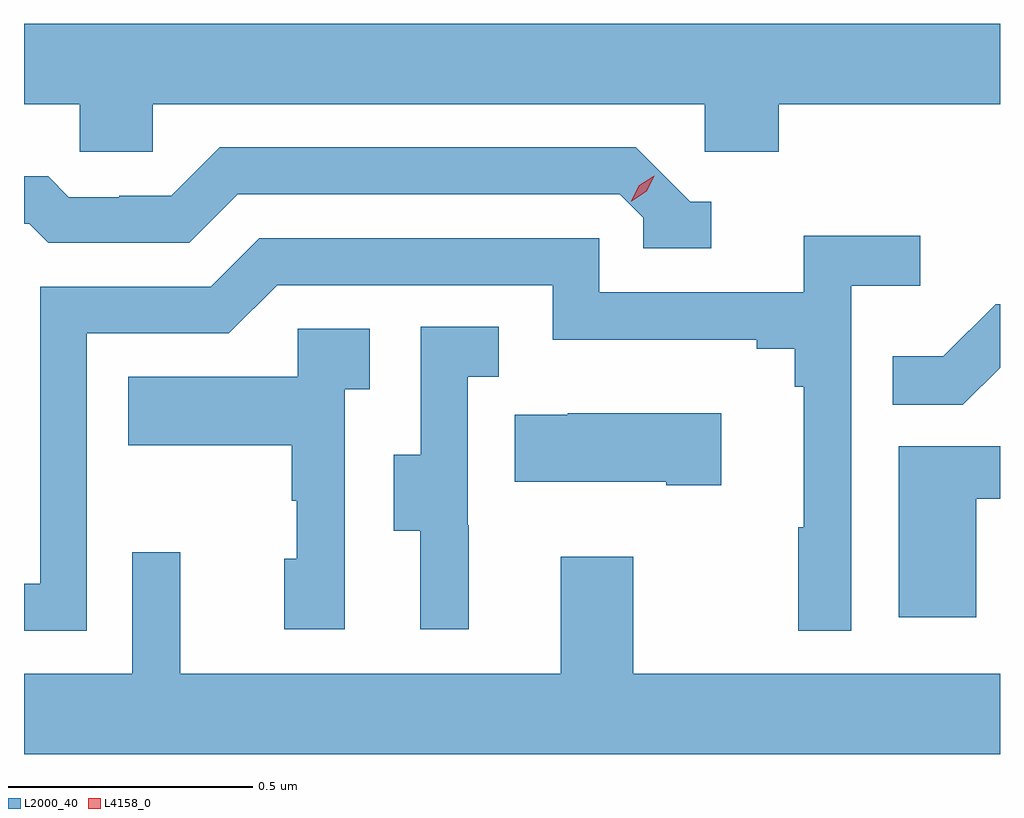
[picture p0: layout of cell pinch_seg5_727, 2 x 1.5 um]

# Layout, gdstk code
import gdstk
lib = gdstk.Library(unit=1e-6, precision=1e-09)
def P(c, l, *ps):  # polygons
    for p in ps: c.add(gdstk.Polygon(p, *l))
L2000_40 = (2000, 40)
L4158_0 = (4158, 0)

pinch_seg5_727 = lib.new_cell('pinch_seg5_727')
P(pinch_seg5_727, L2000_40, [(1080.675,850.1),(1081.806,850.1),(1081.806,850.002),(1081.958,850.002),(1081.958,850.1),(1082.411,850.1),(1082.411,850.264),(1080.411,850.264),(1080.411,850.1),(1080.525,850.1),(1080.525,850.002),(1080.675,850.002)],
  [(1081.819,849.9),(1081.776,849.9),(1081.665,850.011),(1080.812,850.011),(1080.713,849.912),(1080.606,849.912),(1080.606,849.909),(1080.503,849.909),(1080.461,849.952),(1080.411,849.952),(1080.411,849.855),(1080.422,849.855),(1080.461,849.816),(1080.75,849.816),(1080.849,849.915),(1081.632,849.915),(1081.68,849.867),(1081.68,849.804),(1081.819,849.804)],
  [(1080.54,849.63),(1080.831,849.63),(1080.93,849.729),(1081.494,849.729),(1081.494,849.617),(1081.913,849.617),(1081.913,849.598),(1081.99,849.598),(1081.99,849.521),(1082.009,849.521),(1082.009,849.233),(1081.998,849.233),(1081.998,849.021),(1082.106,849.021),(1082.106,849.728),(1082.248,849.728),(1082.248,849.83),(1082.009,849.83),(1082.009,849.714),(1081.59,849.714),(1081.59,849.825),(1080.893,849.825),(1080.794,849.726),(1080.444,849.726),(1080.444,849.117),(1080.411,849.117),(1080.411,849.021),(1080.54,849.021)],
  [(1082.411,849.56),(1082.411,849.69),(1082.402,849.69),(1082.295,849.583),(1082.191,849.583),(1082.191,849.484),(1082.335,849.484)],
  [(1081.322,849.237),(1081.32,849.237),(1081.32,849.541),(1081.384,849.541),(1081.384,849.644),(1081.224,849.644),(1081.224,849.381),(1081.169,849.381),(1081.169,849.226),(1081.223,849.226),(1081.223,849.024),(1081.322,849.024)],
  [(1081.068,849.515),(1081.12,849.515),(1081.12,849.639),(1080.972,849.639),(1080.972,849.541),(1080.625,849.541),(1080.625,849.401),(1080.96,849.401),(1080.96,849.287),(1080.97,849.287),(1080.97,849.168),(1080.944,849.168),(1080.944,849.024),(1081.068,849.024)],
  [(1081.84,849.466),(1081.525,849.466),(1081.525,849.463),(1081.417,849.463),(1081.417,849.326),(1081.727,849.326),(1081.727,849.319),(1081.84,849.319)],
  [(1082.362,849.291),(1082.411,849.291),(1082.411,849.399),(1082.204,849.399),(1082.204,849.048),(1082.362,849.048)],
  [(1082.411,848.932),(1081.659,848.932),(1081.659,849.172),(1081.511,849.172),(1081.511,848.932),(1080.731,848.932),(1080.731,849.181),(1080.633,849.181),(1080.633,848.932),(1080.411,848.932),(1080.411,848.768),(1082.411,848.768)])
P(pinch_seg5_727, L4158_0, [(1081.655,849.901),(1081.655,849.902),(1081.672,849.934),(1081.703,849.953),(1081.703,849.953),(1081.703,849.953),(1081.687,849.921),(1081.656,849.901)])

lib.write_gds('pinch_seg5_727.gds')
